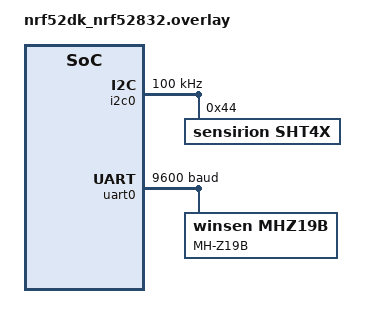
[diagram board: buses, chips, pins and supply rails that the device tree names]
&pinctrl {
	uart0_default: uart0_default {
		group1 {
			psels = <NRF_PSEL(UART_TX, 0, 24)>, //6   for nrf52dk5832 / 5840
				<NRF_PSEL(UART_RX, 0, 23)>,   //8	  for nrf52dk5832
				<NRF_PSEL(UART_RTS, 0, 5)>,
				<NRF_PSEL(UART_CTS, 0, 7)>;
		};
	};

	uart0_sleep: uart0_sleep {
		group1 {
			psels = <NRF_PSEL(UART_TX, 0, 24)>,    //6
				<NRF_PSEL(UART_RX, 0, 23)>,        //8
				<NRF_PSEL(UART_RTS, 0, 5)>,
				<NRF_PSEL(UART_CTS, 0, 7)>;
			low-power-enable;
		};
	};
	i2c0_default: i2c0_default {
		group1 {
			psels = <NRF_PSEL(TWIM_SDA, 0, 26)>,  
				<NRF_PSEL(TWIM_SCL, 0, 25)>;      
		};
	};

	i2c0_sleep: i2c0_sleep {
		group1 {
			psels = <NRF_PSEL(TWIM_SDA, 0, 26)>,   
				<NRF_PSEL(TWIM_SCL, 0, 25)>;        
			low-power-enable;
		};
	};
};

 &i2c0 {
	status = "okay";
	clock-frequency = <I2C_BITRATE_STANDARD>;
	sht4x@44 {
		status = "okay";
		compatible = "sensirion,sht4x";
		reg = <0x44>;
		repeatability = <2>;
	};
};

&uart0 {
    status = "okay";
    current-speed = <9600>;
    mhz19b:winsen-mhz19b {
        compatible = "winsen,mhz19b";
        maximum-range = <5000>;
        label = "MH-Z19B";
    };
};


